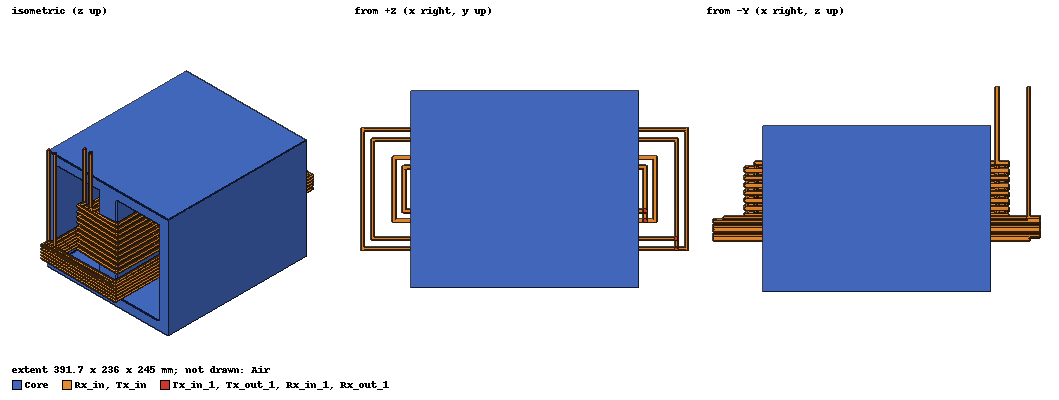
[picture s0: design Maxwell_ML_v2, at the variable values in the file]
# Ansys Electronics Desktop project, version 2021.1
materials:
  vacuum: permittivity=1
  ferrite_LP3: permittivity=12 permeability=3973 conductivity=0.2 magnetic_loss_tangent=0.046 magnetic_coercivity{Magnitude=12A_per_meter DirComp1=1 DirComp2=0 DirComp3=0} core_loss_type="Power Ferrite" core_loss_cm=7.36 core_loss_x=1.26 core_loss_y=2.07 core_loss_kdc=5 mass_density=4800 magnetostriction{PropertyModelType=0 Dir1ModelType=0 Dir2ModelType=0 IsoCoeff=0 IsoHMax=0A_per_meter IsoHMin=0A_per_meter Dir1Coeff=0 Dir1HMax=0A_per_meter Dir1HMin=0A_per_meter Dir1VecX=1 Dir1VecY=0 Dir1VecZ=0 Dir2Coeff=0 Dir2HMax=0A_per_meter Dir2HMin=0A_per_meter Magnetostriction{Isotropic{OneVariation{DatasetMapsName="Lambda-H curves versus Stress"}} Direction1{OneVariation{DatasetMapsName="Lambda-H curves versus Stress"}} Direction2{OneVariation{DatasetMapsName="Lambda-H curves versus Stress"}} SelectedDatasetMapsName="Lambda-H curves versus Stress"}} inverse_magnetostriction{PropertyModelType=0 Dir1ModelType=0 IsoCoeff=0 IsoSigmaMax=0megPascal IsoSigmaMin=0megPascal Dir1Coeff=0 Dir1SigmaMax=0megPascal Dir1SigmaMin=0megPascal Dir1VecX=1 Dir1VecY=0 Dir1VecZ=0 Magnetostriction{Isotropic{OneVariation{DatasetMapsName="B-H curves versus Stress"} OneVariation{DatasetMapsName="B-Sigma curves versus H"}} Direction1{OneVariation{DatasetMapsName="B-H curves versus Stress"} OneVariation{DatasetMapsName="B-Sigma curves versus H"}} SelectedDatasetMapsName="B-H curves versus Stress"}} core_loss_equiv_cut_depth=0.001meter
  copper: permeability=0.999991 conductivity=58000000

design Maxwell_ML_v2 (Maxwell 3D, EddyCurrent, model units mm)
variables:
  air = 372.4mm
  airx = 211.05mm
  l1 = 17mm
  l2 = 84mm
  l3 = l1
  h1 = 164mm
  d1 = 5.52mm
  d2 = 4.88mm
  move_tx = 9.02mm
  move_rx = 5.38mm
  offset_tx = 9/2*move_tx+14.0mm
  offset_rx = 5/2*move_rx+-23.5mm
  w1 = 272mm
  space1 = 9.04mm
  space2 = 42.04mm
  space3 = 8.08mm
  space4 = 45.05mm
  space5 = 11.68mm
  space6 = 12.34mm
  Num = 6
  N1 = 18
  N2 = 10
  airy = 2*l1+l2+30mm
  airz = h1/2+2*l1+30mm
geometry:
  Air [vacuum] = box(corner=(-airx, -airy, -airz), size=(2*airx, 2*airy, 2*airz))
  Core [ferrite_LP3] = box(corner=(-w1/2, -2*l1-l2, -l3-h1/2), size=(w1, 4*l1+2*l2, 2*l3+h1))
  Core_sub1 = box(corner=(-w1/2, -l1, -h1/2), size=(w1, -l2, h1))
  Core_sub2 = box(corner=(-w1/2, l1, -h1/2), size=(w1, l2, h1))
  Core.subtract(Core_sub1, Core_sub2)
  Tx1 = polyline((w1/2+space3+0mm, -l1-space1, airz-offset_tx-5mm) (w1/2+space3+0mm, -l1-space1, 0mm) (w1/2, -l1-space1, 0mm) (-w1/2-space3, -l1-space1, -0*move_tx) (-w1/2-space3, l1+space1, -1/3*move_tx) (w1/2+space3, l1+space1, -2/3*move_tx) (w1/2+space3, -l1, -3/3*move_tx) (w1/2+space3, -l1-space1, -3/3*move_tx) (w1/2, -l1-space1, -3/3*move_tx), section circle width=d1 num_segments=Num)
  Tx2 = polyline((w1/2+space3, -l1-space1, 0mm) (w1/2, -l1-space1, 0mm) (-w1/2-space3, -l1-space1, -0*move_tx) (-w1/2-space3, l1+space1, -1/3*move_tx) (w1/2+space3, l1+space1, -2/3*move_tx) (w1/2+space3, -l1, -3/3*move_tx) (w1/2+space3, -l1-space1, -3/3*move_tx) (w1/2, -l1-space1, -3/3*move_tx), section circle width=d1 num_segments=Num)
  Tx2.move(0, 0, -1*move_tx+offset_tx)
  Tx3 = polyline((w1/2+space3, -l1-space1, 0mm) (w1/2, -l1-space1, 0mm) (-w1/2-space3, -l1-space1, -0*move_tx) (-w1/2-space3, l1+space1, -1/3*move_tx) (w1/2+space3, l1+space1, -2/3*move_tx) (w1/2+space3, -l1, -3/3*move_tx) (w1/2+space3, -l1-space1, -3/3*move_tx) (w1/2, -l1-space1, -3/3*move_tx), section circle width=d1 num_segments=Num)
  Tx3.move(0, 0, -2*move_tx+offset_tx)
  Tx4 = polyline((w1/2+space3, -l1-space1, 0mm) (w1/2, -l1-space1, 0mm) (-w1/2-space3, -l1-space1, -0*move_tx) (-w1/2-space3, l1+space1, -1/3*move_tx) (w1/2+space3, l1+space1, -2/3*move_tx) (w1/2+space3, -l1, -3/3*move_tx) (w1/2+space3, -l1-space1, -3/3*move_tx) (w1/2, -l1-space1, -3/3*move_tx), section circle width=d1 num_segments=Num)
  Tx4.move(0, 0, -3*move_tx+offset_tx)
  Tx5 = polyline((w1/2+space3, -l1-space1, 0mm) (w1/2, -l1-space1, 0mm) (-w1/2-space3, -l1-space1, -0*move_tx) (-w1/2-space3, l1+space1, -1/3*move_tx) (w1/2+space3, l1+space1, -2/3*move_tx) (w1/2+space3, -l1, -3/3*move_tx) (w1/2+space3, -l1-space1, -3/3*move_tx) (w1/2, -l1-space1, -3/3*move_tx), section circle width=d1 num_segments=Num)
  Tx5.move(0, 0, -4*move_tx+offset_tx)
  Tx6 = polyline((w1/2+space3, -l1-space1, 0mm) (w1/2, -l1-space1, 0mm) (-w1/2-space3, -l1-space1, -0*move_tx) (-w1/2-space3, l1+space1, -1/3*move_tx) (w1/2+space3, l1+space1, -2/3*move_tx) (w1/2+space3, -l1, -3/3*move_tx) (w1/2+space3, -l1-space1, -3/3*move_tx) (w1/2, -l1-space1, -3/3*move_tx), section circle width=d1 num_segments=Num)
  Tx6.move(0, 0, -5*move_tx+offset_tx)
  Tx7 = polyline((w1/2+space3, -l1-space1, 0mm) (w1/2, -l1-space1, 0mm) (-w1/2-space3, -l1-space1, -0*move_tx) (-w1/2-space3, l1+space1, -1/3*move_tx) (w1/2+space3, l1+space1, -2/3*move_tx) (w1/2+space3, -l1, -3/3*move_tx) (w1/2+space3, -l1-space1, -3/3*move_tx) (w1/2, -l1-space1, -3/3*move_tx), section circle width=d1 num_segments=Num)
  Tx7.move(0, 0, -6*move_tx+offset_tx)
  Tx8 = polyline((w1/2+space3, -l1-space1, 0mm) (w1/2, -l1-space1, 0mm) (-w1/2-space3, -l1-space1, -0*move_tx) (-w1/2-space3, l1+space1, -1/3*move_tx) (w1/2+space3, l1+space1, -2/3*move_tx) (w1/2+space3, -l1, -3/3*move_tx) (w1/2+space3, -l1-space1, -3/3*move_tx) (w1/2, -l1-space1, -3/3*move_tx), section circle width=d1 num_segments=Num)
  Tx8.move(0, 0, -7*move_tx+offset_tx)
  Tx9 = polyline((w1/2+space3, -l1-space1, 0mm) (w1/2, -l1-space1, 0mm) (-w1/2-space3, -l1-space1, -0*move_tx) (-w1/2-space3, l1+space1, -1/3*move_tx) (w1/2+space3, l1+space1, -2/3*move_tx) (w1/2+space3, -l1, -3/3*move_tx) (w1/2+space3, -l1-space1-space5, -4/4*move_tx) (w1/2+space3-10mm, -l1-space1-space5, -4/4*move_tx), section circle width=d1 num_segments=Num)
  Tx9.move(0, 0, -8*move_tx+offset_tx)
  Tx1.move(0, 0, offset_tx)
  Tx10 = polyline((w1/2+space3, -l1-space1-space5, -3/3*move_tx) (w1/2, -l1-space1-space5, -3/3*move_tx) (-w1/2-space3-space5, -l1-space1-space5, -3/3*move_tx) (-w1/2-space3-space5, l1+space1+space5, -2/3*move_tx) (w1/2+space3+space5, l1+space1+space5, -1/3*move_tx) (w1/2+space3+space5, -l1-space1-space5, -0/3*move_tx) (w1/2, -l1-space1-space5, -0/3*move_tx), section circle width=d1 num_segments=Num)
  Tx11 = polyline((w1/2+space3, -l1-space1-space5, -3/3*move_tx) (w1/2, -l1-space1-space5, -3/3*move_tx) (-w1/2-space3-space5, -l1-space1-space5, -3/3*move_tx) (-w1/2-space3-space5, l1+space1+space5, -2/3*move_tx) (w1/2+space3+space5, l1+space1+space5, -1/3*move_tx) (w1/2+space3+space5, -l1-space1-space5, -0/3*move_tx) (w1/2, -l1-space1-space5, -0/3*move_tx), section circle width=d1 num_segments=Num)
  Tx11.move(0, 0, -7*move_tx+offset_tx)
  Tx12 = polyline((w1/2+space3, -l1-space1-space5, -3/3*move_tx) (w1/2, -l1-space1-space5, -3/3*move_tx) (-w1/2-space3-space5, -l1-space1-space5, -3/3*move_tx) (-w1/2-space3-space5, l1+space1+space5, -2/3*move_tx) (w1/2+space3+space5, l1+space1+space5, -1/3*move_tx) (w1/2+space3+space5, -l1-space1-space5, -0/3*move_tx) (w1/2, -l1-space1-space5, -0/3*move_tx), section circle width=d1 num_segments=Num)
  Tx12.move(0, 0, -6*move_tx+offset_tx)
  Tx13 = polyline((w1/2+space3, -l1-space1-space5, -3/3*move_tx) (w1/2, -l1-space1-space5, -3/3*move_tx) (-w1/2-space3-space5, -l1-space1-space5, -3/3*move_tx) (-w1/2-space3-space5, l1+space1+space5, -2/3*move_tx) (w1/2+space3+space5, l1+space1+space5, -1/3*move_tx) (w1/2+space3+space5, -l1-space1-space5, -0/3*move_tx) (w1/2, -l1-space1-space5, -0/3*move_tx), section circle width=d1 num_segments=Num)
  Tx13.move(0, 0, -5*move_tx+offset_tx)
  Tx14 = polyline((w1/2+space3, -l1-space1-space5, -3/3*move_tx) (w1/2, -l1-space1-space5, -3/3*move_tx) (-w1/2-space3-space5, -l1-space1-space5, -3/3*move_tx) (-w1/2-space3-space5, l1+space1+space5, -2/3*move_tx) (w1/2+space3+space5, l1+space1+space5, -1/3*move_tx) (w1/2+space3+space5, -l1-space1-space5, -0/3*move_tx) (w1/2, -l1-space1-space5, -0/3*move_tx), section circle width=d1 num_segments=Num)
  Tx14.move(0, 0, -4*move_tx+offset_tx)
  Tx15 = polyline((w1/2+space3, -l1-space1-space5, -3/3*move_tx) (w1/2, -l1-space1-space5, -3/3*move_tx) (-w1/2-space3-space5, -l1-space1-space5, -3/3*move_tx) (-w1/2-space3-space5, l1+space1+space5, -2/3*move_tx) (w1/2+space3+space5, l1+space1+space5, -1/3*move_tx) (w1/2+space3+space5, -l1-space1-space5, -0/3*move_tx) (w1/2, -l1-space1-space5, -0/3*move_tx), section circle width=d1 num_segments=Num)
  Tx15.move(0, 0, -3*move_tx+offset_tx)
  Tx16 = polyline((w1/2+space3, -l1-space1-space5, -3/3*move_tx) (w1/2, -l1-space1-space5, -3/3*move_tx) (-w1/2-space3-space5, -l1-space1-space5, -3/3*move_tx) (-w1/2-space3-space5, l1+space1+space5, -2/3*move_tx) (w1/2+space3+space5, l1+space1+space5, -1/3*move_tx) (w1/2+space3+space5, -l1-space1-space5, -0/3*move_tx) (w1/2, -l1-space1-space5, -0/3*move_tx), section circle width=d1 num_segments=Num)
  Tx16.move(0, 0, -2*move_tx+offset_tx)
  Tx17 = polyline((w1/2+space3, -l1-space1-space5, -3/3*move_tx) (w1/2, -l1-space1-space5, -3/3*move_tx) (-w1/2-space3-space5, -l1-space1-space5, -3/3*move_tx) (-w1/2-space3-space5, l1+space1+space5, -2/3*move_tx) (w1/2+space3+space5, l1+space1+space5, -1/3*move_tx) (w1/2+space3+space5, -l1-space1-space5, -0/3*move_tx) (w1/2, -l1-space1-space5, -0/3*move_tx), section circle width=d1 num_segments=Num)
  Tx17.move(0, 0, -1*move_tx+offset_tx)
  Tx10.move(0, 0, -(9-1)*move_tx+offset_tx)
  Tx18 = polyline((w1/2+space3, -l1-space1-space5, -3/3*move_tx) (w1/2, -l1-space1-space5, -3/3*move_tx) (-w1/2-space3-space5, -l1-space1-space5, -3/3*move_tx) (-w1/2-space3-space5, l1+space1+space5, -2/3*move_tx) (w1/2+space3+space5, l1+space1+space5, -1/3*move_tx) (w1/2+space3+space5, -l1-space1-space5, -0/3*move_tx) (w1/2+space3, -l1-space1-space5, -0/3*move_tx) (w1/2+space3, -l1-space1-space5, airz-offset_tx-5mm) (w1/2+space3, -l1-space1-space5, airz-offset_tx-5mm), section circle width=d1 num_segments=Num)
  Tx18.move(0mm, 0, -(0)*move_tx+offset_tx)
  Tx_in [copper] = polyline((w1/2+space3+0mm, -l1-space1, airz-5mm) (w1/2+space3+0mm, -l1-space1, airz), section circle width=d1 num_segments=Num)
  Tx_out = polyline((w1/2+space3, -l1-space1-space5, airz-5mm) (w1/2+space3, -l1-space1-space5, airz), section circle width=d1 num_segments=Num)
  Tx_in_1 [copper] = circle(normal=Z, centre=(w1/2+space3+0mm, -l1-space1, airz), radius=d1/2, segments=Num)
  Tx_out_1 [copper] = circle(normal=Z, centre=(w1/2+space3, -l1-space1-space5, airz), radius=d1/2, segments=Num)
  Tx_in.unite(Tx_out, Tx1..Tx18)
  Rx1 = polyline((w1/2+space4+0mm, -l1-space2, airz-offset_rx-5mm) (w1/2+space4+0mm, -l1-space2, 0mm) (w1/2, -l1-space2, 0mm) (-w1/2-space4, -l1-space2, -0*move_rx) (-w1/2-space4, l1+space2, -1/3*move_rx) (w1/2+space4, l1+space2, -2/3*move_rx) (w1/2+space4, -l1, -3/3*move_rx) (w1/2+space4, -l1-space2, -3/3*move_rx) (w1/2, -l1-space2, -3/3*move_rx), section circle width=d2 num_segments=Num)
  Rx2 = polyline((w1/2+space4, -l1-space2, 0mm) (w1/2, -l1-space2, 0mm) (-w1/2-space4, -l1-space2, -0*move_rx) (-w1/2-space4, l1+space2, -1/3*move_rx) (w1/2+space4, l1+space2, -2/3*move_rx) (w1/2+space4, -l1, -3/3*move_rx) (w1/2+space4, -l1-space2, -3/3*move_rx) (w1/2, -l1-space2, -3/3*move_rx), section circle width=d2 num_segments=Num)
  Rx2.move(0, 0, -1*move_rx+offset_rx)
  Rx3 = polyline((w1/2+space4, -l1-space2, 0mm) (w1/2, -l1-space2, 0mm) (-w1/2-space4, -l1-space2, -0*move_rx) (-w1/2-space4, l1+space2, -1/3*move_rx) (w1/2+space4, l1+space2, -2/3*move_rx) (w1/2+space4, -l1, -3/3*move_rx) (w1/2+space4, -l1-space2, -3/3*move_rx) (w1/2, -l1-space2, -3/3*move_rx), section circle width=d2 num_segments=Num)
  Rx3.move(0, 0, -2*move_rx+offset_rx)
  Rx4 = polyline((w1/2+space4, -l1-space2, 0mm) (w1/2, -l1-space2, 0mm) (-w1/2-space4, -l1-space2, -0*move_rx) (-w1/2-space4, l1+space2, -1/3*move_rx) (w1/2+space4, l1+space2, -2/3*move_rx) (w1/2+space4, -l1, -3/3*move_rx) (w1/2+space4, -l1-space2, -3/3*move_rx) (w1/2, -l1-space2, -3/3*move_rx), section circle width=d2 num_segments=Num)
  Rx4.move(0, 0, -3*move_rx+offset_rx)
  Rx5 = polyline((w1/2+space4, -l1-space2, 0mm) (w1/2, -l1-space2, 0mm) (-w1/2-space4, -l1-space2, -0*move_rx) (-w1/2-space4, l1+space2, -1/3*move_rx) (w1/2+space4, l1+space2, -2/3*move_rx) (w1/2+space4, -l1, -3/3*move_rx) (w1/2+space4, -l1-space2-space6, -4/4*move_rx) (w1/2+space4-10mm, -l1-space2-space6, -4/4*move_rx), section circle width=d2 num_segments=Num)
  Rx5.move(0, 0, -4*move_rx+offset_rx)
  Rx1.move(0, 0, offset_rx)
  Rx6 = polyline((w1/2+space4, -l1-space2-space6, -3/3*move_rx) (w1/2, -l1-space2-space6, -3/3*move_rx) (-w1/2-space4-space6, -l1-space2-space6, -3/3*move_rx) (-w1/2-space4-space6, l1+space2+space6, -2/3*move_rx) (w1/2+space4+space6, l1+space2+space6, -1/3*move_rx) (w1/2+space4+space6, -l1-space2-space6, -0/3*move_rx) (w1/2, -l1-space2-space6, -0/3*move_rx), section circle width=d2 num_segments=Num)
  Rx7 = polyline((w1/2+space4, -l1-space2-space6, -3/3*move_rx) (w1/2, -l1-space2-space6, -3/3*move_rx) (-w1/2-space4-space6, -l1-space2-space6, -3/3*move_rx) (-w1/2-space4-space6, l1+space2+space6, -2/3*move_rx) (w1/2+space4+space6, l1+space2+space6, -1/3*move_rx) (w1/2+space4+space6, -l1-space2-space6, -0/3*move_rx) (w1/2, -l1-space2-space6, -0/3*move_rx), section circle width=d2 num_segments=Num)
  Rx7.move(0, 0, -3*move_rx+offset_rx)
  Rx8 = polyline((w1/2+space4, -l1-space2-space6, -3/3*move_rx) (w1/2, -l1-space2-space6, -3/3*move_rx) (-w1/2-space4-space6, -l1-space2-space6, -3/3*move_rx) (-w1/2-space4-space6, l1+space2+space6, -2/3*move_rx) (w1/2+space4+space6, l1+space2+space6, -1/3*move_rx) (w1/2+space4+space6, -l1-space2-space6, -0/3*move_rx) (w1/2, -l1-space2-space6, -0/3*move_rx), section circle width=d2 num_segments=Num)
  Rx8.move(0, 0, -2*move_rx+offset_rx)
  Rx9 = polyline((w1/2+space4, -l1-space2-space6, -3/3*move_rx) (w1/2, -l1-space2-space6, -3/3*move_rx) (-w1/2-space4-space6, -l1-space2-space6, -3/3*move_rx) (-w1/2-space4-space6, l1+space2+space6, -2/3*move_rx) (w1/2+space4+space6, l1+space2+space6, -1/3*move_rx) (w1/2+space4+space6, -l1-space2-space6, -0/3*move_rx) (w1/2, -l1-space2-space6, -0/3*move_rx), section circle width=d2 num_segments=Num)
  Rx9.move(0, 0, -1*move_rx+offset_rx)
  Rx6.move(0, 0, -(5-1)*move_rx+offset_rx)
  Rx10 = polyline((w1/2+space4, -l1-space2-space6, -3/3*move_rx) (w1/2, -l1-space2-space6, -3/3*move_rx) (-w1/2-space4-space6, -l1-space2-space6, -3/3*move_rx) (-w1/2-space4-space6, l1+space2+space6, -2/3*move_rx) (w1/2+space4+space6, l1+space2+space6, -1/3*move_rx) (w1/2+space4+space6, -l1-space2-space6, -0/3*move_rx) (w1/2+space4, -l1-space2-space6, -0/3*move_rx) (w1/2+space4, -l1-space2-space6, airz-offset_rx-5mm) (w1/2+space4, -l1-space2-space6, airz-offset_rx-5mm), section circle width=d2 num_segments=Num)
  Rx10.move(0, 0, -(0)*move_rx+offset_rx)
  Rx_in [copper] = polyline((w1/2+space4+0mm, -l1-space2, airz-5mm) (w1/2+space4+0mm, -l1-space2, airz), section circle width=d2 num_segments=Num)
  Rx_out = polyline((w1/2+space4, -l1-space2-space6, airz-5mm) (w1/2+space4, -l1-space2-space6, airz), section circle width=d2 num_segments=Num)
  Rx_in_1 [copper] = circle(normal=Z, centre=(w1/2+space4+0mm, -l1-space2, airz), radius=d2/2, segments=Num)
  Rx_out_1 [copper] = circle(normal=Z, centre=(w1/2+space4, -l1-space2-space6, airz), radius=d2/2, segments=Num)
  Rx_in.unite(Rx_out, Rx1..Rx10)
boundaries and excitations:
  Rad1: Radiation Objects=Air
  Tx1: Coil Terminal Objects=Tx_in_1 Conductor_number=1 Winding=Tx Point_out_of_terminal=false
  Tx2: Coil Terminal Objects=Tx_out_1 Conductor_number=1 Winding=Tx Point_out_of_terminal=true
  Rx1: Coil Terminal Objects=Rx_in_1 Conductor_number=1 Winding=Rx Point_out_of_terminal=false
  Rx2: Coil Terminal Objects=Rx_out_1 Conductor_number=1 Winding=Rx Point_out_of_terminal=true
  Tx: Winding Group Type=Current IsSolid=true Current=37.313333A ParallelBranchesNum=1 Phase=0deg
  Rx: Winding Group Type=Current IsSolid=true Current=77.2A ParallelBranchesNum=1 Phase=0deg
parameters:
  Matrix1: Matrix Rx, Tx:
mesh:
  initial mesh: GlobalCurvilinear{Apply}
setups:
  Setup1: EddyCurrent MaximumPasses=5 MinimumPasses=5 MinimumConvergedPasses=1 PercentRefinement=30 PercentError=1e-12 NonLinearResidual=0.0001 Frequency=51000Hz
